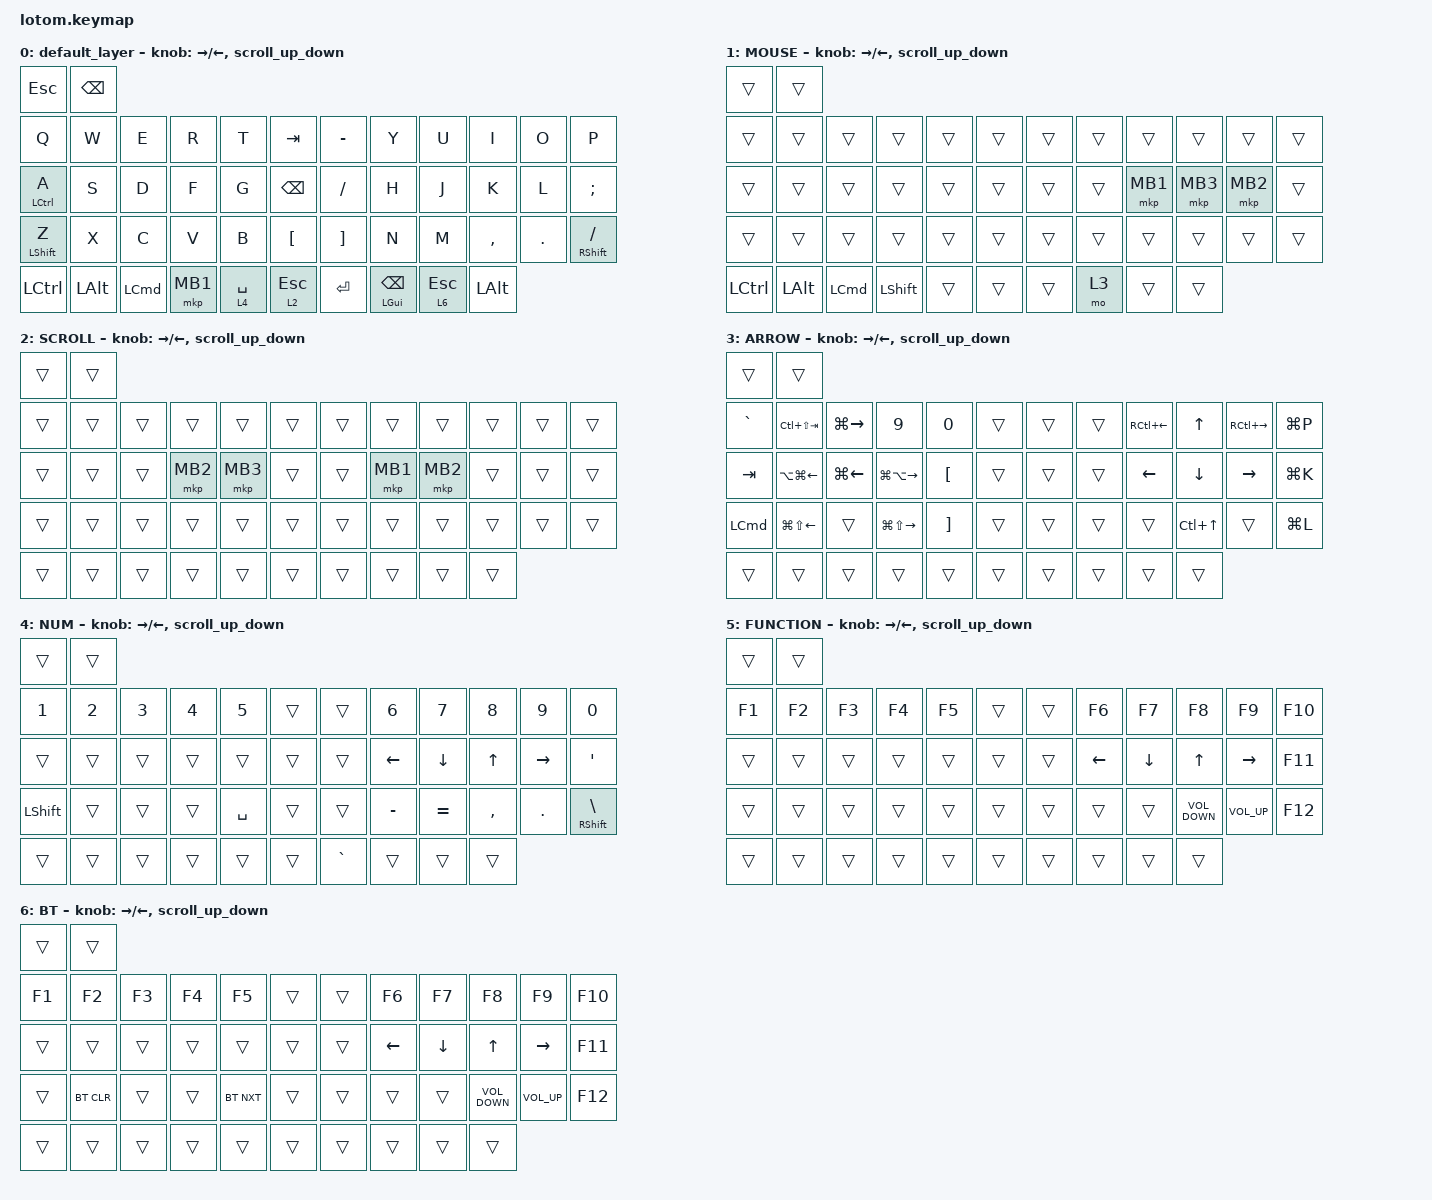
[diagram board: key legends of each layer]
#include <behaviors.dtsi>
#include <dt-bindings/zmk/bt.h>
#include <dt-bindings/zmk/keys.h>
#include <dt-bindings/zmk/pointing.h>

#define ZMK_POINTING_DEFAULT_SCRL_VAL 80

&mt {
    quick-tap-ms = <150>;
    flavor = "balanced";
    retro-tap;
};

/ {
    behaviors {
        scroll_up_down: behavior_sensor_rotate_mouse_wheel_up_down {
            compatible = "zmk,behavior-sensor-rotate";
            label = "ENCODER_MSC_DOWN_UP";
            #sensor-binding-cells = <0>;
            bindings = <&msc SCRL_DOWN>, <&msc SCRL_UP>;

            tap-ms = <20>;
        };

        tab_slide: behavior_sensor_rotate_tab_slide {
            compatible = "zmk,behavior-sensor-rotate";
            label = "ENCODER_TAB_SLIDE";
            #sensor-binding-cells = <0>;
            bindings = <&kp LA(LG(RIGHT_ARROW))>, <&kp LA(LG(LEFT_ARROW))>;

            tap-ms = <20>;
        };
    };

    combos {
        compatible = "zmk,combos";

        tab {
            bindings = <&kp TAB>;
            key-positions = <2 3>;
        };

        tab2 {
            bindings = <&kp TAB>;
            key-positions = <14 15>;
        };

        backspace {
            bindings = <&kp BACKSPACE>;
            key-positions = <25 24>;
        };

        ctrl {
            bindings = <&kp RCTRL>;
            key-positions = <37 36>;
        };

        ctrl+tab {
            bindings = <&kp LC(TAB)>;
            key-positions = <16 15>;
        };
    };

    keymap {
        compatible = "zmk,keymap";

        default_layer {
            bindings = <
&kp ESCAPE        &kp BACKSPACE
&kp Q             &kp W          &kp E             &kp R     &kp T        &kp TAB           &kp MINUS          &kp Y                   &kp U         &kp I         &kp O       &kp P
&mt LCTRL A       &kp S          &kp D             &kp F     &kp G        &kp BACKSPACE     &kp SLASH          &kp H                   &kp J         &kp K         &kp L       &kp SEMICOLON
&mt LEFT_SHIFT Z  &kp X          &kp C             &kp V     &kp B        &kp LEFT_BRACKET  &kp RIGHT_BRACKET  &kp N                   &kp M         &kp COMMA     &kp PERIOD  &mt RIGHT_SHIFT SLASH
&kp LCTRL         &kp LEFT_ALT   &kp LEFT_COMMAND  &mkp MB1  &lt 4 SPACE  &lt 2 ESCAPE      &kp ENTER          &mt LEFT_GUI BACKSPACE  &lt 6 ESCAPE  &kp LEFT_ALT
            >;

            sensor-bindings = <
                &inc_dec_kp RIGHT_ARROW LEFT_ARROW
                &scroll_up_down
            >;
        };

        MOUSE {
            bindings = <
&trans     &trans
&trans     &trans        &trans            &trans          &trans  &trans  &trans  &trans  &trans    &trans    &trans    &trans
&trans     &trans        &trans            &trans          &trans  &trans  &trans  &trans  &mkp MB1  &mkp MB3  &mkp MB2  &trans
&trans     &trans        &trans            &trans          &trans  &trans  &trans  &trans  &trans    &trans    &trans    &trans
&kp LCTRL  &kp LEFT_ALT  &kp LEFT_COMMAND  &kp LEFT_SHIFT  &trans  &trans  &trans  &mo 3   &trans    &trans
            >;

            sensor-bindings = <
                &inc_dec_kp RIGHT_ARROW LEFT_ARROW
                &scroll_up_down
            >;
        };

        SCROLL {
            bindings = <
&trans  &trans
&trans  &trans  &trans  &trans    &trans    &trans  &trans  &trans    &trans    &trans  &trans  &trans
&trans  &trans  &trans  &mkp MB2  &mkp MB3  &trans  &trans  &mkp MB1  &mkp MB2  &trans  &trans  &trans
&trans  &trans  &trans  &trans    &trans    &trans  &trans  &trans    &trans    &trans  &trans  &trans
&trans  &trans  &trans  &trans    &trans    &trans  &trans  &trans    &trans    &trans
            >;

            sensor-bindings = <
                &inc_dec_kp RIGHT_ARROW LEFT_ARROW
                &scroll_up_down
            >;
        };

        ARROW {
            bindings = <
&trans     &trans
&kp GRAVE  &kp LC(LS(TAB))         &kp LG(RIGHT)  &kp NUMBER_9             &kp NUMBER_0       &trans  &trans  &trans  &kp RC(LEFT_ARROW)  &kp UP_ARROW      &kp RC(RIGHT_ARROW)  &kp LG(P)
&kp TAB    &kp LA(LG(LEFT_ARROW))  &kp LG(LEFT)   &kp LG(LA(RIGHT_ARROW))  &kp LEFT_BRACKET   &trans  &trans  &trans  &kp LEFT_ARROW      &kp DOWN_ARROW    &kp RIGHT_ARROW      &kp LG(K)
&kp LCMD   &kp LG(LS(LEFT_ARROW))  &trans         &kp LG(LS(RIGHT_ARROW))  &kp RIGHT_BRACKET  &trans  &trans  &trans  &trans              &kp LC(UP_ARROW)  &trans               &kp LG(L)
&trans     &trans                  &trans         &trans                   &trans             &trans  &trans  &trans  &trans              &trans
            >;

            sensor-bindings = <
                &inc_dec_kp RIGHT_ARROW LEFT_ARROW
                &scroll_up_down
            >;
        };

        NUM {
            bindings = <
&trans          &trans
&kp NUMBER_1    &kp NUMBER_2  &kp NUMBER_3  &kp NUMBER_4  &kp N5     &trans  &trans     &kp NUMBER_6    &kp NUMBER_7    &kp NUMBER_8  &kp NUMBER_9     &kp NUMBER_0
&trans          &trans        &trans        &trans        &trans     &trans  &trans     &kp LEFT_ARROW  &kp DOWN_ARROW  &kp UP_ARROW  &kp RIGHT_ARROW  &kp SQT
&kp LEFT_SHIFT  &trans        &trans        &trans        &kp SPACE  &trans  &trans     &kp MINUS       &kp EQUAL       &kp COMMA     &kp PERIOD       &mt RIGHT_SHIFT BACKSLASH
&trans          &trans        &trans        &trans        &trans     &trans  &kp GRAVE  &trans          &trans          &trans
            >;

            sensor-bindings = <
                &inc_dec_kp RIGHT_ARROW LEFT_ARROW
                &scroll_up_down
            >;
        };

        FUNCTION {
            bindings = <
&trans  &trans
&kp F1  &kp F2  &kp F3  &kp F4  &kp F5  &trans  &trans  &kp F6          &kp F7          &kp F8             &kp F9           &kp F10
&trans  &trans  &trans  &trans  &trans  &trans  &trans  &kp LEFT_ARROW  &kp DOWN_ARROW  &kp UP_ARROW       &kp RIGHT_ARROW  &kp F11
&trans  &trans  &trans  &trans  &trans  &trans  &trans  &trans          &trans          &kp C_VOLUME_DOWN  &kp C_VOLUME_UP  &kp F12
&trans  &trans  &trans  &trans  &trans  &trans  &trans  &trans          &trans          &trans
            >;

            sensor-bindings = <
                &inc_dec_kp RIGHT_ARROW LEFT_ARROW
                &scroll_up_down
            >;
        };

        BT {
            bindings = <
&trans  &trans
&kp F1  &kp F2      &kp F3  &kp F4  &kp F5      &trans  &trans  &kp F6          &kp F7          &kp F8             &kp F9           &kp F10
&trans  &trans      &trans  &trans  &trans      &trans  &trans  &kp LEFT_ARROW  &kp DOWN_ARROW  &kp UP_ARROW       &kp RIGHT_ARROW  &kp F11
&trans  &bt BT_CLR  &trans  &trans  &bt BT_NXT  &trans  &trans  &trans          &trans          &kp C_VOLUME_DOWN  &kp C_VOLUME_UP  &kp F12
&trans  &trans      &trans  &trans  &trans      &trans  &trans  &trans          &trans          &trans
            >;

            sensor-bindings = <
                &inc_dec_kp RIGHT_ARROW LEFT_ARROW
                &scroll_up_down
            >;
        };
    };
};
